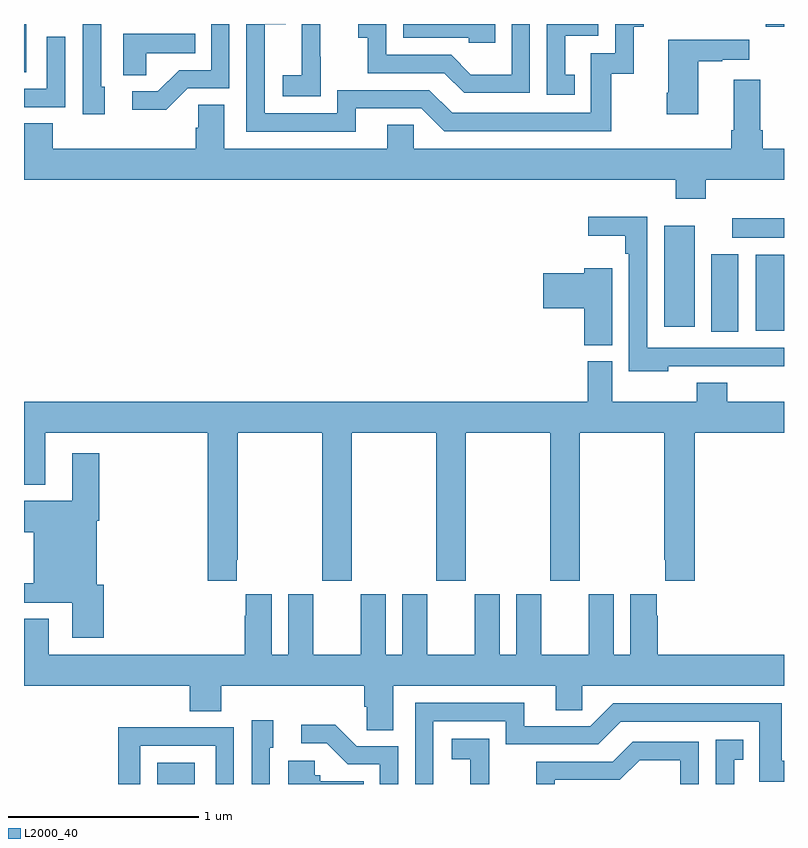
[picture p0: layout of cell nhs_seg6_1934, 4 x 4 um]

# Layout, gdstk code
import gdstk
lib = gdstk.Library(unit=1e-6, precision=1e-09)
def R(c, l, rs):  # rectangles x0, y0, x1, y1
    for r in rs: c.add(gdstk.rectangle(r[:2], r[2:], *l))
def P(c, l, *ps):  # polygons
    for p in ps: c.add(gdstk.Polygon(p, *l))
L2000_40 = (2000, 40)

nhs_seg6_1934 = lib.new_cell('nhs_seg6_1934')
R(nhs_seg6_1934, L2000_40, [(227.702,933.5,227.899,933.613), (230.618,935.881,230.758,936.289), (230.852,935.885,231,936.286), (230.369,935.907,230.53,936.439), (230.727,936.374,231,936.478), (227,937.247,227.011,937.5), (230.905,937.486,231,937.5)])
P(nhs_seg6_1934, L2000_40, [(229.481,937.5),(228.996,937.5),(228.996,937.428),(229.341,937.428),(229.341,937.401),(229.481,937.401)],
  [(227.862,937.161),(228.081,937.161),(228.081,937.5),(227.985,937.5),(227.985,937.257),(227.816,937.257),(227.705,937.146),(227.571,937.146),(227.571,937.049),(227.749,937.049)],
  [(228.745,937.056),(229.092,937.056),(229.212,936.936),(230.092,936.936),(230.092,937.239),(230.21,937.239),(230.21,937.485),(230.263,937.485),(230.263,937.5),(230.112,937.5),(230.112,937.347),(229.983,937.347),(229.983,937.032),(229.254,937.032),(229.134,937.152),(228.648,937.152),(228.648,937.029),(228.267,937.029),(228.267,937.498),(228.377,937.498),(228.377,937.5),(228.171,937.5),(228.171,936.933),(228.745,936.933)],
  [(227.425,937.17),(227.406,937.17),(227.406,937.5),(227.31,937.5),(227.31,937.026),(227.425,937.026)],
  [(229.662,937.5),(229.566,937.5),(229.566,937.234),(229.352,937.234),(229.248,937.338),(228.906,937.338),(228.906,937.5),(228.759,937.5),(228.759,937.427),(228.808,937.427),(228.808,937.242),(229.211,937.242),(229.316,937.137),(229.662,937.137)],
  [(228.561,937.327),(228.56,937.327),(228.56,937.5),(228.462,937.5),(228.462,937.46),(228.461,937.46),(228.461,937.231),(228.363,937.231),(228.363,937.121),(228.561,937.121)],
  [(229.898,937.233),(229.849,937.233),(229.849,937.437),(230.022,937.437),(230.022,937.5),(229.752,937.5),(229.752,937.128),(229.898,937.128)],
  [(227.643,937.346),(227.9,937.346),(227.9,937.45),(227.522,937.45),(227.522,937.231),(227.643,937.231)],
  [(227.217,937.432),(227.121,937.432),(227.121,937.158),(227,937.158),(227,937.062),(227.217,937.062)],
  [(230.548,937.303),(230.675,937.303),(230.675,937.313),(230.818,937.313),(230.818,937.417),(230.39,937.417),(230.39,937.138),(230.383,937.138),(230.383,937.026),(230.548,937.026)],
  [(230.589,936.68),(231,936.68),(231,936.844),(230.888,936.844),(230.888,936.94),(230.875,936.94),(230.875,937.207),(230.735,937.207),(230.735,936.94),(230.723,936.94),(230.723,936.844),(229.05,936.844),(229.05,936.971),(228.911,936.971),(228.911,936.844),(228.055,936.844),(228.055,937.076),(227.916,937.076),(227.916,936.953),(227.903,936.953),(227.903,936.844),(227.15,936.844),(227.15,936.977),(227,936.977),(227,936.68),(230.429,936.68),(230.429,936.581),(230.589,936.581)],
  [(230.391,935.7),(230.785,935.7),(230.785,935.699),(231,935.699),(231,935.796),(230.28,935.796),(230.28,936.485),(229.971,936.485),(229.971,936.386),(230.164,936.386),(230.164,936.29),(230.184,936.29),(230.184,935.672),(230.391,935.672)],
  [(230.095,936.214),(229.949,936.214),(229.949,936.188),(229.734,936.188),(229.734,936.005),(229.949,936.005),(229.949,935.809),(230.095,935.809)],
  [(230.371,934.681),(230.375,934.681),(230.375,934.569),(230.531,934.569),(230.531,935.348),(231,935.348),(231,935.512),(230.702,935.512),(230.702,935.611),(230.542,935.611),(230.542,935.512),(230.095,935.512),(230.095,935.724),(229.967,935.724),(229.967,935.512),(227,935.512),(227,935.075),(227.113,935.075),(227.113,935.348),(227.966,935.348),(227.966,934.569),(228.121,934.569),(228.121,934.681),(228.126,934.681),(228.126,935.348),(228.571,935.348),(228.571,934.569),(228.726,934.569),(228.726,935.348),(229.171,935.348),(229.171,934.569),(229.326,934.569),(229.326,935.348),(229.771,935.348),(229.771,934.569),(229.926,934.569),(229.926,935.348),(230.371,935.348)],
  [(227.42,934.548),(227.383,934.548),(227.383,934.886),(227.396,934.886),(227.396,935.242),(227.255,935.242),(227.255,934.99),(227,934.99),(227,934.826),(227.051,934.826),(227.051,934.556),(227,934.556),(227,934.455),(227.255,934.455),(227.255,934.269),(227.42,934.269)],
  [(228.943,934.016),(229.799,934.016),(229.799,933.889),(229.938,933.889),(229.938,934.016),(231,934.016),(231,934.18),(230.336,934.18),(230.336,934.385),(230.329,934.385),(230.329,934.498),(230.192,934.498),(230.192,934.18),(230.104,934.18),(230.104,934.498),(229.973,934.498),(229.973,934.18),(229.723,934.18),(229.723,934.498),(229.592,934.498),(229.592,934.18),(229.504,934.18),(229.504,934.498),(229.373,934.498),(229.373,934.18),(229.123,934.18),(229.123,934.498),(228.992,934.498),(228.992,934.18),(228.904,934.18),(228.904,934.498),(228.773,934.498),(228.773,934.18),(228.523,934.18),(228.523,934.498),(228.392,934.498),(228.392,934.18),(228.304,934.18),(228.304,934.498),(228.167,934.498),(228.167,934.385),(228.161,934.385),(228.161,934.18),(227.131,934.18),(227.131,934.37),(227,934.37),(227,934.016),(227.873,934.016),(227.873,933.883),(228.038,933.883),(228.038,934.016),(228.791,934.016),(228.791,933.907),(228.804,933.907),(228.804,933.784),(228.943,933.784)],
  [(229.155,933.831),(229.536,933.831),(229.536,933.708),(230.022,933.708),(230.142,933.828),(230.871,933.828),(230.871,933.513),(231,933.513),(231,933.622),(230.987,933.622),(230.987,933.924),(230.1,933.924),(229.98,933.804),(229.633,933.804),(229.633,933.927),(229.059,933.927),(229.059,933.5),(229.155,933.5)],
  [(228.294,933.69),(228.313,933.69),(228.313,933.835),(228.198,933.835),(228.198,933.5),(228.294,933.5)],
  [(228.969,933.699),(228.75,933.699),(228.637,933.812),(228.459,933.812),(228.459,933.714),(228.593,933.714),(228.704,933.603),(228.873,933.603),(228.873,933.5),(228.969,933.5)],
  [(227.613,933.702),(228.009,933.702),(228.009,933.5),(228.105,933.5),(228.105,933.798),(227.789,933.798),(227.789,933.8),(227.497,933.8),(227.497,933.5),(227.613,933.5)],
  [(229.448,933.533),(229.449,933.533),(229.449,933.739),(229.251,933.739),(229.251,933.629),(229.349,933.629),(229.349,933.5),(229.448,933.5)],
  [(230.737,933.627),(230.786,933.627),(230.786,933.733),(230.64,933.733),(230.64,933.5),(230.737,933.5)],
  [(229.794,933.522),(230.136,933.522),(230.24,933.626),(230.454,933.626),(230.454,933.5),(230.55,933.5),(230.55,933.723),(230.204,933.723),(230.099,933.618),(229.696,933.618),(229.696,933.5),(229.794,933.5)],
  [(228.788,933.514),(228.558,933.514),(228.558,933.546),(228.531,933.546),(228.531,933.622),(228.392,933.622),(228.392,933.5),(228.788,933.5)])

lib.write_gds('nhs_seg6_1934.gds')
